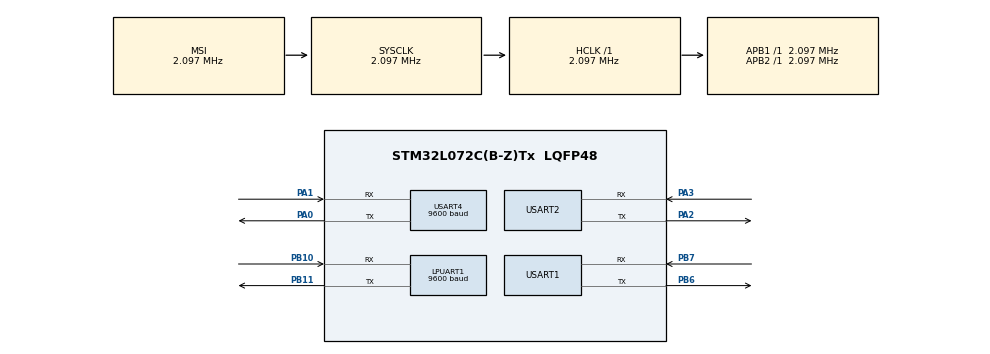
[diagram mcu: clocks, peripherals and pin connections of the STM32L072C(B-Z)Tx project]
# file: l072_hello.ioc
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LPUART1.BaudRate=9600
Mcu.Family=STM32L0
Mcu.Name=STM32L072C(B-Z)Tx
Mcu.Package=LQFP48
NVIC.RNG_LPUART1_IRQn=true\:0\:0\:false\:false\:true\:true\:true\:true
NVIC.USART1_IRQn=true\:0\:0\:false\:false\:true\:true\:true\:true
NVIC.USART4_5_IRQn=true\:0\:0\:false\:false\:true\:true\:true\:true
PA0.Mode=Asynchronous
PA0.Signal=USART4_TX
PA1.Mode=Asynchronous
PA1.Signal=USART4_RX
PA13.Mode=Serial_Wire
PA13.Signal=SYS_SWDIO
PA14.Mode=Serial_Wire
PA14.Signal=SYS_SWCLK
PA2.Mode=Asynchronous
PA2.Signal=USART2_TX
PA3.Mode=Asynchronous
PA3.Signal=USART2_RX
PB10.Mode=Asynchronous
PB10.Signal=LPUART1_RX
PB11.Mode=Asynchronous
PB11.Signal=LPUART1_TX
PB6.Mode=Asynchronous
PB6.Signal=USART1_TX
PB7.Mode=Asynchronous
PB7.Signal=USART1_RX
ProjectManager.HeapSize=0x200
ProjectManager.StackSize=0x400
ProjectManager.TargetToolchain=STM32CubeIDE
RCC.AHBFreq_Value=2097000
RCC.APB1Freq_Value=2097000
RCC.APB1TimFreq_Value=2097000
RCC.APB2Freq_Value=2097000
RCC.APB2TimFreq_Value=2097000
RCC.HSE_VALUE=8000000
RCC.HSI16_VALUE=16000000
RCC.HSI48_VALUE=48000000
RCC.HSI_VALUE=16000000
RCC.LSE_VALUE=32768
RCC.MSI_VALUE=2097000
RCC.SYSCLKFreq_VALUE=2097000
RCC.VCOOutputFreq_Value=48000000
USART1.VirtualMode-Asynchronous=VM_ASYNC
USART2.VirtualMode-Asynchronous=VM_ASYNC
USART4.BaudRate=9600
USART4.VirtualMode-Asynchronous=VM_ASYNC
board=custom

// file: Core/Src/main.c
/* USER CODE BEGIN Header */
/**
  ******************************************************************************
  * @file           : main.c
  * @brief          : Main program body
  ******************************************************************************
  * @attention
  *
  * Copyright (c) 2025 STMicroelectronics.
  * All rights reserved.
  *
  * This software is licensed under terms that can be found in the LICENSE file
  * in the root directory of this software component.
  * If no LICENSE file comes with this software, it is provided AS-IS.
  *
  ******************************************************************************
  */
/* USER CODE END Header */
#include "main.h"
#include "usart.h"
#include "gpio.h"
#include <string.h>
/* USER CODE BEGIN Includes */
#include <stdio.h>
#include <stdlib.h>
#include <ctype.h>
/* USER CODE END Includes */

/* USER CODE BEGIN PV */
#define LBUF 128

static uint8_t lora_rx_byte, ble_rx_byte;
static char    lora_line[LBUF], ble_line[LBUF];
static volatile size_t lora_len = 0, ble_len = 0;
static volatile uint8_t lora_ready = 0, ble_ready = 0;

#define GPS_LINE_MAX 128
static uint8_t gps_rx_byte;
static volatile char   gps_line[GPS_LINE_MAX];
static volatile size_t gps_lp = 0;
static volatile uint8_t gps_ready = 0;

static volatile uint8_t  gps_fix_valid = 0;
static volatile int32_t  gps_lat_e7 = 0;
static volatile int32_t  gps_lon_e7 = 0;
static volatile uint32_t gps_last_ms = 0;
/* USER CODE END PV */

void SystemClock_Config(void);
static void StartLoRaRxIT(void);
static void StartBLERxIT(void);
static void dbg(const char *s);
/* USER CODE BEGIN PFP */
static void StartGPSRxIT(void);
static int  gps_validate_checksum(const char* s);
static int  gps_parse_ddmm_to_e7(const char* ddmm, const char* hemi, int32_t* out_e7);
static void gps_parse_rmc(char* buf);
static void gps_task(uint32_t now_ms);
static void handle_ble_command(const char* line);
/* USER CODE END PFP */

/* USER CODE BEGIN 0 */
/* Prints a string on the debug UART */
static void dbg(const char *s)
{
  HAL_UART_Transmit(&huart2, (uint8_t*)s, strlen(s), HAL_MAX_DELAY);
}

/* Arms LoRa UART RX interrupt */
static void StartLoRaRxIT(void) { HAL_UART_Receive_IT(&huart1, &lora_rx_byte, 1); }

/* Arms BLE UART RX interrupt */
static void StartBLERxIT(void)  { HAL_UART_Receive_IT(&huart4, &ble_rx_byte, 1); }

/* Arms GPS UART RX interrupt */
static void StartGPSRxIT(void)  { HAL_UART_Receive_IT(&hlpuart1, &gps_rx_byte, 1); }

/* Validates an NMEA sentence checksum */
static int gps_validate_checksum(const char* s){
  if(!s || s[0]!='$') return 0;
  const char* star = strrchr(s, '*');
  if(!star || star - s < 2) return 0;
  uint8_t x = 0;
  for(const char* p=s+1; p<star; ++p) x ^= (uint8_t)(*p);
  if(!isxdigit((unsigned char)star[1]) || !isxdigit((unsigned char)star[2])) return 0;
  uint8_t h = (uint8_t)((star[1]>='A'&&star[1]<='F') ? 10+star[1]-'A' : (star[1]>='a'&&star[1]<='f') ? 10+star[1]-'a' : star[1]-'0');
  uint8_t l = (uint8_t)((star[2]>='A'&&star[2]<='F') ? 10+star[2]-'A' : (star[2]>='a'&&star[2]<='f') ? 10+star[2]-'a' : star[2]-'0');
  uint8_t want = (uint8_t)((h<<4)|l);
  return x == want;
}

/* Converts ddmm.mmmm (+ hemisphere) to degrees * 1e-7 */
static int gps_parse_ddmm_to_e7(const char* ddmm, const char* hemi, int32_t* out_e7){
  if(!ddmm || !*ddmm || !out_e7) return 0;
  double v = atof(ddmm);
  int deg = (int)(v / 100.0);
  double minutes = v - (deg * 100.0);
  double degs = deg + minutes / 60.0;
  if(hemi && (*hemi=='S' || *hemi=='W')) degs = -degs;
  long long e7 = (long long)(degs * 1e7);
  if(e7 >  2147483647LL) e7 =  2147483647LL;
  if(e7 < -2147483648LL) e7 = -2147483648LL;
  *out_e7 = (int32_t)e7;
  return 1;
}

/* Parses a $GPRMC/$GNRMC sentence for fix and lat/lon */
static void gps_parse_rmc(char* buf){
  if(!gps_validate_checksum(buf)) return;
  for(char* q=buf; *q; ++q) if(*q=='\r'||*q=='\n') *q=0;
  const char* toks[16]={0}; int nt=0;
  for(char* t = strtok(buf, ","); t && nt<16; t=strtok(NULL, ",")) toks[nt++]=t;
  if(nt < 7) return;
  if(strncmp(toks[0], "$GPRMC", 6)!=0 && strncmp(toks[0], "$GNRMC", 6)!=0) return;
  const char* status = toks[2];
  const char* lat    = toks[3];
  const char* hemiNS = toks[4];
  const char* lon    = toks[5];
  const char* hemiEW = toks[6];
  if(!status || (*status!='A' && *status!='a')) { gps_fix_valid = 0; return; }
  int32_t lat_e7=0, lon_e7=0;
  if(!gps_parse_ddmm_to_e7(lat, hemiNS, &lat_e7)) return;
  if(!gps_parse_ddmm_to_e7(lon, hemiEW, &lon_e7)) return;
  gps_fix_valid = 1;
  gps_lat_e7 = lat_e7;
  gps_lon_e7 = lon_e7;
  gps_last_ms = HAL_GetTick();
}

/* Consumes a completed GPS line and updates parsed state */
static void gps_task(uint32_t now_ms){
  (void)now_ms;
  if(gps_ready){
    char buf[GPS_LINE_MAX];
    size_t i=0;
    while(i<GPS_LINE_MAX-1){
      char c = ((volatile char*)gps_line)[i];
      buf[i]=c; if(!c) break; i++;
    }
    buf[GPS_LINE_MAX-1]=0;
    if(strncmp(buf, "$GPRMC", 6)==0 || strncmp(buf, "$GNRMC", 6)==0){
      gps_parse_rmc(buf);
    }
    gps_ready = 0;
  }
}

/* Handles simple BLE commands (VER? / GPS?) */
static void handle_ble_command(const char* line){
  size_t n = strlen(line);
  while(n && (line[n-1]=='\r' || line[n-1]=='\n')) n--;
  if(n==4 && strncmp(line,"VER?",4)==0){
    const char* b = "VER: fw=0.2.0; build=dev\r\n";
    HAL_UART_Transmit(&huart4, (uint8_t*)b, strlen(b), HAL_MAX_DELAY);
    return;
  }
  if(n==4 && strncmp(line,"GPS?",4)==0){
    char b[96];
    if(gps_fix_valid){
      float lat = gps_lat_e7 / 1e7f;
      float lon = gps_lon_e7 / 1e7f;
      int m = snprintf(b, sizeof(b), "GPS: fix lat=%.6f lon=%.6f age=%lums\r\n",
                       lat, lon, (unsigned long)(HAL_GetTick()-gps_last_ms));
      if(m>0) HAL_UART_Transmit(&huart4, (uint8_t*)b, (uint16_t)m, HAL_MAX_DELAY);
    }else{
      const char* nf = "GPS: no fix\r\n";
      HAL_UART_Transmit(&huart4, (uint8_t*)nf, strlen(nf), HAL_MAX_DELAY);
    }
    return;
  }
  const char* u = "CMD? Try VER? or GPS?\r\n";
  HAL_UART_Transmit(&huart4, (uint8_t*)u, strlen(u), HAL_MAX_DELAY);
}
/* USER CODE END 0 */

int main(void)
{

  /* MCU Configuration--------------------------------------------------------*/

  /* Reset of all peripherals, Initializes the Flash interface and the Systick. */
  HAL_Init();

  /* Configure the system clock */
  SystemClock_Config();

  /* Initialize all configured peripherals */
  MX_GPIO_Init();
  MX_USART2_UART_Init();  //debugfixes with a
  MX_USART1_UART_Init();  //Lora
  MX_USART4_UART_Init();  //BLE
  MX_LPUART1_UART_Init(); //GPS
  /* USER CODE BEGIN 2 */
  const char *msg = "hello from STM32L0!\r\n";
  HAL_UART_Transmit(&huart2, (uint8_t*)msg, strlen(msg), HAL_MAX_DELAY);

  StartLoRaRxIT();
  StartBLERxIT();
  StartGPSRxIT();

  dbg("LoRa=USART1, Debug=USART2, BLE=USART4\r\n");
  /* USER CODE END 2 */

  /* Infinite loop */
  /* USER CODE BEGIN WHILE */
  uint32_t t_1hz = HAL_GetTick();
  uint32_t t_gps = HAL_GetTick();

  while (1)
  {
    uint32_t now = HAL_GetTick();

    if(now - t_gps >= 10){
      gps_task(now);
      t_gps = now;
    }

    if(now - t_1hz >= 1000){
      dbg("tick\r\n");
      if(gps_fix_valid){
        char line[96];
        float lat = gps_lat_e7 / 1e7f;
        float lon = gps_lon_e7 / 1e7f;
        int n = snprintf(line, sizeof(line), "GPS: fix lat=%.6f lon=%.6f\r\n", lat, lon);
        if(n>0) HAL_UART_Transmit(&huart2, (uint8_t*)line, (uint16_t)n, HAL_MAX_DELAY);
      } else {
        dbg("GPS: no fix\r\n");
      }
      t_1hz = now;
    }

    if(lora_ready) {
      dbg("LORA RX: "); dbg(lora_line); dbg("\r\n");
      HAL_UART_Transmit(&huart4, (uint8_t*)lora_line, strlen(lora_line), HAL_MAX_DELAY);
      HAL_UART_Transmit(&huart4, (uint8_t*)"\r\n", 2, HAL_MAX_DELAY);
      lora_len = 0; lora_ready = 0;
    }

    if(ble_ready) {
      dbg("BLE  RX: "); dbg(ble_line); dbg("\r\n");
      handle_ble_command(ble_line);
      HAL_UART_Transmit(&huart1, (uint8_t*)ble_line, strlen(ble_line), HAL_MAX_DELAY);
      HAL_UART_Transmit(&huart1, (uint8_t*)"\r\n", 2, HAL_MAX_DELAY);
      ble_len = 0; ble_ready = 0;
    }

    HAL_Delay(1);
  }
  /* USER CODE END WHILE */

}

void SystemClock_Config(void)
{
  RCC_OscInitTypeDef RCC_OscInitStruct = {0};
  RCC_ClkInitTypeDef RCC_ClkInitStruct = {0};
  RCC_PeriphCLKInitTypeDef PeriphClkInit = {0};

  __HAL_PWR_VOLTAGESCALING_CONFIG(PWR_REGULATOR_VOLTAGE_SCALE1);

  RCC_OscInitStruct.OscillatorType = RCC_OSCILLATORTYPE_MSI;
  RCC_OscInitStruct.MSIState = RCC_MSI_ON;
  RCC_OscInitStruct.MSICalibrationValue = 0;
  RCC_OscInitStruct.MSIClockRange = RCC_MSIRANGE_5;
  RCC_OscInitStruct.PLL.PLLState = RCC_PLL_NONE;
  if (HAL_RCC_OscConfig(&RCC_OscInitStruct) != HAL_OK)
  {
    Error_Handler();
  }

  RCC_ClkInitStruct.ClockType = RCC_CLOCKTYPE_HCLK|RCC_CLOCKTYPE_SYSCLK
                              |RCC_CLOCKTYPE_PCLK1|RCC_CLOCKTYPE_PCLK2;
  RCC_ClkInitStruct.SYSCLKSource = RCC_SYSCLKSOURCE_MSI;
  RCC_ClkInitStruct.AHBCLKDivider = RCC_SYSCLK_DIV1;
  RCC_ClkInitStruct.APB1CLKDivider = RCC_HCLK_DIV1;
  RCC_ClkInitStruct.APB2CLKDivider = RCC_HCLK_DIV1;

  if (HAL_RCC_ClockConfig(&RCC_ClkInitStruct, FLASH_LATENCY_0) != HAL_OK)
  {
    Error_Handler();
  }
  PeriphClkInit.PeriphClockSelection = RCC_PERIPHCLK_USART1|RCC_PERIPHCLK_USART2
                              |RCC_PERIPHCLK_LPUART1;
  PeriphClkInit.Usart1ClockSelection = RCC_USART1CLKSOURCE_PCLK2;
  PeriphClkInit.Usart2ClockSelection = RCC_USART2CLKSOURCE_PCLK1;
  PeriphClkInit.Lpuart1ClockSelection = RCC_LPUART1CLKSOURCE_PCLK1;
  if (HAL_RCCEx_PeriphCLKConfig(&PeriphClkInit) != HAL_OK)
  {
    Error_Handler();
  }
}

/* USER CODE BEGIN 4 */
/* Handles UART RX complete interrupts for LoRa, BLE, and GPS */
void HAL_UART_RxCpltCallback(UART_HandleTypeDef *huart)
{
  if(huart == &huart1) {
    char c = (char)lora_rx_byte;
    if(!lora_ready && lora_len < LBUF-1) lora_line[lora_len++] = c;
    if(c == '\n' || c == '\r') { lora_line[lora_len] = 0; lora_ready = 1; }
    StartLoRaRxIT();
  }
  else if(huart == &huart4) {
    char c = (char)ble_rx_byte;
    if(!ble_ready && ble_len < LBUF-1) ble_line[ble_len++] = c;
    if(c == '\n' || c == '\r') { ble_line[ble_len] = 0; ble_ready = 1; }
    StartBLERxIT();
  }
  else if(huart == &hlpuart1) {
    char c = (char)gps_rx_byte;
    if(!gps_ready){
      if(c=='\n' || c=='\r'){
        if(gps_lp>0){ ((volatile char*)gps_line)[gps_lp]=0; gps_ready=1; }
        gps_lp = 0;
      }else if(gps_lp < GPS_LINE_MAX-1){
        ((volatile char*)gps_line)[gps_lp++] = c;
      }else{
        gps_lp = 0;
      }
    }
    StartGPSRxIT();
  }
}
/* USER CODE END 4 */

void Error_Handler(void)
{
  __disable_irq();
  while (1)
  {
  }
}
